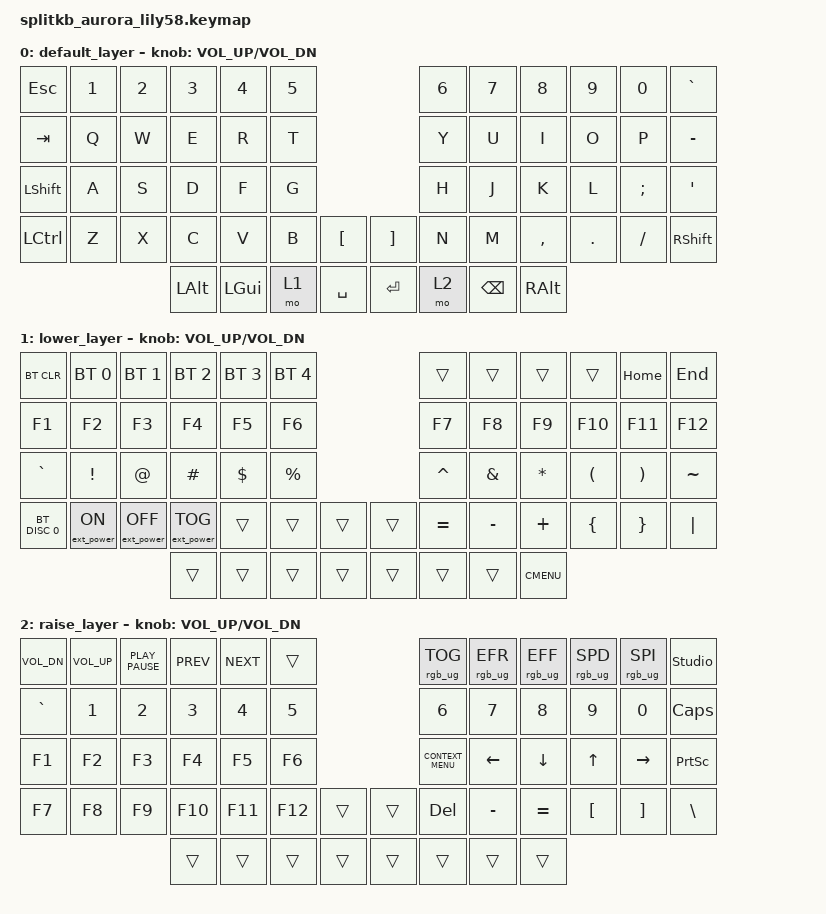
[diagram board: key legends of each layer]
/*
 * Copyright (c) 2022 The ZMK Contributors
 *
 * SPDX-License-Identifier: MIT
 */

#include <behaviors.dtsi>
#include <dt-bindings/zmk/backlight.h>
#include <dt-bindings/zmk/bt.h>
#include <dt-bindings/zmk/ext_power.h>
#include <dt-bindings/zmk/keys.h>
#include <dt-bindings/zmk/outputs.h>
#include <dt-bindings/zmk/rgb.h>

&led_strip { chain-length = <58>; };

/ {
    combos {
        compatible = "zmk,combos";

        combo_qw_tildae {
            bindings = <&bl BL_TOG>;
            key-positions = <13 14>;
        };

        Toggle_BT_USB {
            bindings = <&out OUT_TOG>;
            key-positions = <14 15 16>;
        };
    };

    keymap {
        compatible = "zmk,keymap";

        default_layer {
            // ------------------------------------------------------------------------------------------------------------
            // |  ESC  |  1  |  2  |  3   |  4   |  5   |                   |  6   |  7    |  8    |  9   |   0   |   `   |
            // |  TAB  |  Q  |  W  |  E   |  R   |  T   |                   |  Y   |  U    |  I    |  O   |   P   |   -   |
            // |  CTRL |  A  |  S  |  D   |  F   |  G   |                   |  H   |  J    |  K    |  L   |   ;   |   '   |
            // | SHIFT |  Z  |  X  |  C   |  V   |  B   |   "["  |  |  "]"  |  N   |  M    |  ,    |  .   |   /   | SHIFT |
            //                     | ALT  | GUI  | LOWER|  SPACE |  | ENTER | RAISE| BSPC  | GUI   |

            bindings = <
&kp ESC     &kp N1  &kp N2  &kp N3    &kp N4    &kp N5                         &kp N6  &kp N7    &kp N8     &kp N9   &kp N0    &kp GRAVE
&kp TAB     &kp Q   &kp W   &kp E     &kp R     &kp T                          &kp Y   &kp U     &kp I      &kp O    &kp P     &kp MINUS
&kp LSHIFT  &kp A   &kp S   &kp D     &kp F     &kp G                          &kp H   &kp J     &kp K      &kp L    &kp SEMI  &kp SQT
&kp LCTRL   &kp Z   &kp X   &kp C     &kp V     &kp B   &kp LBKT     &kp RBKT  &kp N   &kp M     &kp COMMA  &kp DOT  &kp FSLH  &kp RSHFT
                            &kp LALT  &kp LGUI  &mo 1   &kp SPACE    &kp RET   &mo 2   &kp BSPC  &kp RALT
            >;

            sensor-bindings = <&inc_dec_kp C_VOL_UP C_VOL_DN>;
        };

        lower_layer {
            // ------------------------------------------------------------------------------------------------------------
            // | BTCLR | BT1 | BT2 |  BT3 |  BT4 |  BT5 |                   |      |       |       |      |       |       |
            // |  F1   |  F2 |  F3 |  F4  |  F5  |  F6  |                   |  F7  |  F8   |  F9   |  F10 |  F11  |  F12  |
            // |   `   |  !  |  @  |  #   |  $   |  %   |                   |  ^   |  &    |  *    |  (   |   )   |   ~   |
            // |       |     |     |      |      |      |        |  |       |      |  _    |  +    |  {   |   }   |  "|"  |
            //                     |      |      |      |        |  |       |      |       |       |

            bindings = <
&bt BT_CLR     &bt BT_SEL 0      &bt BT_SEL 1       &bt BT_SEL 2       &bt BT_SEL 3  &bt BT_SEL 4                    &trans     &trans     &trans    &trans    &kp HOME  &kp END
&kp F1         &kp F2            &kp F3             &kp F4             &kp F5        &kp F6                          &kp F7     &kp F8     &kp F9    &kp F10   &kp F11   &kp F12
&kp GRAVE      &kp EXCL          &kp AT             &kp HASH           &kp DOLLAR    &kp PRCNT                       &kp CARET  &kp AMPS   &kp STAR  &kp LPAR  &kp RPAR  &kp TILDE
&bt BT_DISC 0  &ext_power EP_ON  &ext_power EP_OFF  &ext_power EP_TOG  &trans        &trans        &trans    &trans  &kp EQUAL  &kp MINUS  &kp PLUS  &kp LBRC  &kp RBRC  &kp PIPE
                                                    &trans             &trans        &trans        &trans    &trans  &trans     &trans     &kp K_CMENU
            >;

            sensor-bindings = <&inc_dec_kp C_VOL_UP C_VOL_DN>;
        };

        raise_layer {
            // ------------------------------------------------------------------------------------------------------------
            // |       |     |     |      |      |      |                   |      |       |       |      |       |       |
            // |   `   |  1  |  2  |  3   |  4   |  5   |                   |  6   |   7   |   8   |  9   |   0   |       |
            // |   F1  |  F2 |  F3 |  F4  |  F5  |  F6  |                   |      |   <-  |   v   |  ^   |  ->   |       |
            // |   F7  |  F8 |  F9 |  F10 |  F11 |  F12 |        |  |       |  +   |   -   |   =   |  [   |   ]   |   \   |
            //                     |      |      |      |        |  |       |      |       |       |

            bindings = <
&kp C_VOL_DN  &kp C_VOL_UP  &kp K_PLAY_PAUSE  &kp C_PREV  &kp C_NEXT  &trans                     &rgb_ug RGB_TOG  &rgb_ug RGB_EFR  &rgb_ug RGB_EFF  &rgb_ug RGB_SPD  &rgb_ug RGB_SPI  &studio_unlock
&kp GRAVE     &kp N1        &kp N2            &kp N3      &kp N4      &kp N5                     &kp N6           &kp N7           &kp N8           &kp N9           &kp N0           &kp CAPS
&kp F1        &kp F2        &kp F3            &kp F4      &kp F5      &kp F6                     &kp K_CONTEXT_MENU  &kp LEFT         &kp DOWN         &kp UP           &kp RIGHT        &kp PRINTSCREEN
&kp F7        &kp F8        &kp F9            &kp F10     &kp F11     &kp F12  &trans    &trans  &kp DEL          &kp MINUS        &kp EQUAL        &kp LBKT         &kp RBKT         &kp BSLH
                                              &trans      &trans      &trans   &trans    &trans  &trans           &trans           &trans
            >;

            sensor-bindings = <&inc_dec_kp C_VOL_UP C_VOL_DN>;
        };
    };
};
